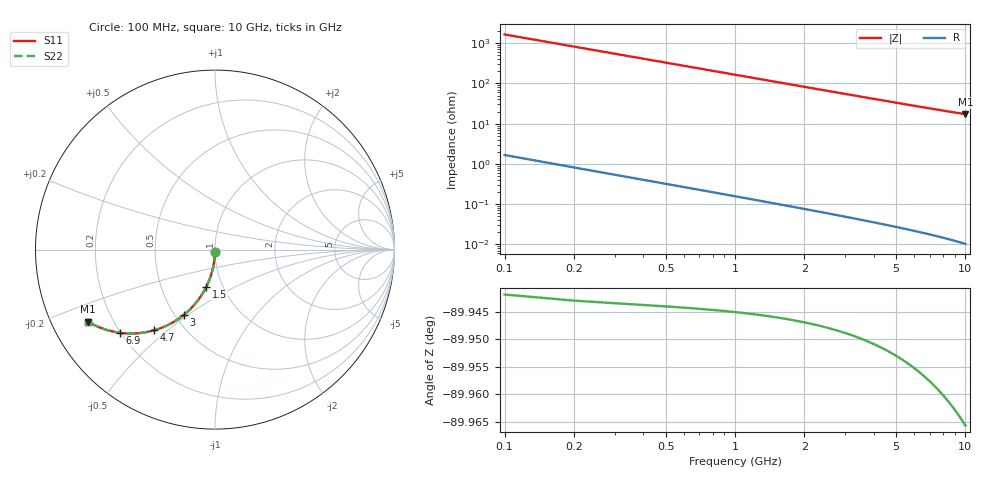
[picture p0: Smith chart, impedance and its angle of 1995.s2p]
# Hz S RI R 50.00
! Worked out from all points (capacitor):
!   100 points, 100 MHz to 10 GHz, reference 50 ohm
!   read as one part in shunt: C = 968 fF near 100 MHz
!   lowest |Z| = 17.2 ohm at 10 GHz (marker M1)
!   S11 on the Smith chart (normalised r, x): 100 MHz: 1.00, -0.03; 1.5 GHz: 0.83, -0.37; 3 GHz: 0.56, -0.48; 4.7 GHz: 0.34, -0.45; 6.9 GHz: 0.20, -0.36; 10 GHz: 0.11, -0.26
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1e8  2.47e-05 -0.0147  0.9995 -0.0157  0.9995 -0.0157  2.47e-05 -0.0147
2e8  -0.00068 -0.0294  0.9988 -0.0314  0.9988 -0.0314  -0.00068 -0.0294
3e8  -0.00185 -0.044  0.9976 -0.047  0.9976 -0.047  -0.00185 -0.044
4e8  -0.00347 -0.0586  0.996 -0.0626  0.996 -0.0626  -0.00347 -0.0586
5e8  -0.00554 -0.0731  0.9939 -0.0781  0.9939 -0.0781  -0.00554 -0.0731
6e8  -0.00806 -0.0875  0.9914 -0.0935  0.9914 -0.0935  -0.00806 -0.0875
7e8  -0.011 -0.1017  0.9884 -0.1087  0.9884 -0.1087  -0.011 -0.1017
9e8  -0.0182 -0.1298  0.9812 -0.1388  0.9812 -0.1388  -0.0182 -0.1298
1.2e9  -0.0321 -0.1706  0.9673 -0.1826  0.9673 -0.1826  -0.0321 -0.1706
1.5e9  -0.0494 -0.2094  0.9499 -0.2244  0.9499 -0.2244  -0.0494 -0.2094
1.8e9  -0.0697 -0.2457  0.9296 -0.2638  0.9296 -0.2638  -0.0697 -0.2457
2.4e9  -0.1178 -0.3103  0.8814 -0.3344  0.8814 -0.3344  -0.1178 -0.3103
3e9  -0.1729 -0.363  0.8261 -0.3931  0.8261 -0.3931  -0.1729 -0.363
3.4e9  -0.2119 -0.3915  0.7869 -0.4256  0.7869 -0.4256  -0.2119 -0.3915
4e9  -0.2717 -0.4246  0.7269 -0.4648  0.7269 -0.4648  -0.2717 -0.4246
4.7e9  -0.3407 -0.45  0.6576 -0.4974  0.6576 -0.4974  -0.3407 -0.45
5.1e9  -0.3787 -0.459  0.6194 -0.5105  0.6194 -0.5105  -0.3787 -0.459
5.9e9  -0.4504 -0.4673  0.5472 -0.527  0.5472 -0.527  -0.4504 -0.4673
6.7e9  -0.515 -0.4652  0.4821 -0.5332  0.4821 -0.5332  -0.515 -0.4652
6.9e9  -0.53 -0.4634  0.4669 -0.5335  0.4669 -0.5335  -0.53 -0.4634
8.4e9  -0.628 -0.4392  0.3676 -0.5252  0.3676 -0.5252  -0.628 -0.4392
1e10  -0.7077 -0.4012  0.2863 -0.5045  0.2863 -0.5045  -0.7077 -0.4012
